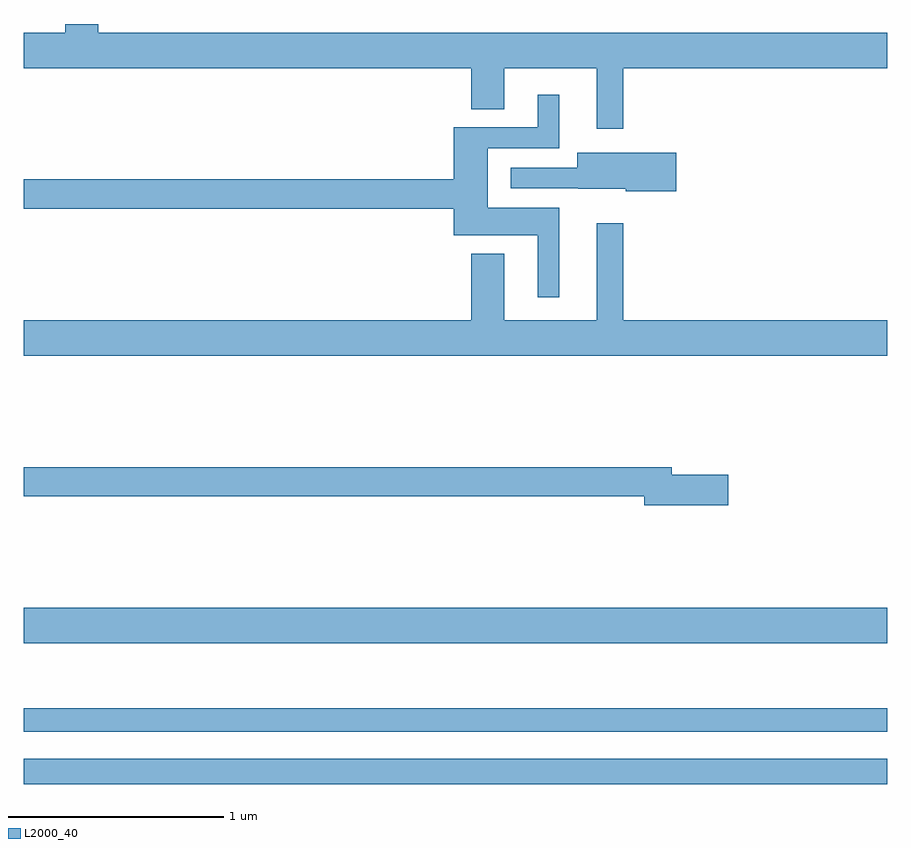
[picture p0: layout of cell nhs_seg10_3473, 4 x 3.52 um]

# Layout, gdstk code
import gdstk
lib = gdstk.Library(unit=1e-6, precision=1e-09)
def R(c, l, rs):  # rectangles x0, y0, x1, y1
    for r in rs: c.add(gdstk.rectangle(r[:2], r[2:], *l))
def P(c, l, *ps):  # polygons
    for p in ps: c.add(gdstk.Polygon(p, *l))
L2000_40 = (2000, 40)

nhs_seg10_3473 = lib.new_cell('nhs_seg10_3473')
R(nhs_seg10_3473, L2000_40, [(299,1316.98,303,1317.096), (299,1317.222,303,1317.331), (299,1317.632,303,1317.796)])
P(nhs_seg10_3473, L2000_40, [(301.777,1320.296),(303,1320.296),(303,1320.46),(299.345,1320.46),(299.345,1320.5),(299.192,1320.5),(299.192,1320.46),(299,1320.46),(299,1320.296),(301.073,1320.296),(301.073,1320.106),(301.225,1320.106),(301.225,1320.296),(301.655,1320.296),(301.655,1320.015),(301.777,1320.015)],
  [(301.48,1319.65),(301.15,1319.65),(301.15,1319.925),(301.48,1319.925),(301.48,1320.172),(301.382,1320.172),(301.382,1320.021),(300.992,1320.021),(300.992,1319.78),(299,1319.78),(299,1319.644),(300.992,1319.644),(300.992,1319.522),(301.382,1319.522),(301.382,1319.235),(301.48,1319.235)],
  [(302.023,1319.904),(301.565,1319.904),(301.565,1319.835),(301.257,1319.835),(301.257,1319.739),(301.569,1319.739),(301.569,1319.738),(301.788,1319.738),(301.788,1319.726),(302.023,1319.726)],
  [(303,1319.128),(301.777,1319.128),(301.777,1319.578),(301.655,1319.578),(301.655,1319.128),(301.225,1319.128),(301.225,1319.437),(301.073,1319.437),(301.073,1319.128),(299,1319.128),(299,1318.964),(303,1318.964)],
  [(302.263,1318.412),(302.002,1318.412),(302.002,1318.448),(299,1318.448),(299,1318.312),(301.874,1318.312),(301.874,1318.27),(302.263,1318.27)])

lib.write_gds('nhs_seg10_3473.gds')
